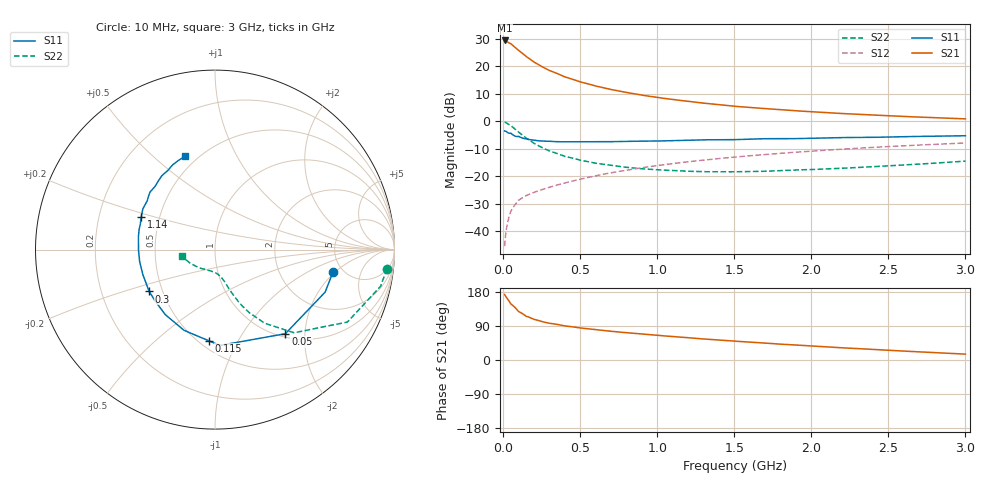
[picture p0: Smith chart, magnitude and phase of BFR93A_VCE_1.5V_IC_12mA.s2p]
! Infineon Technologies  Discrete & RF Semiconductors
! BFR93A
! VCE =  1.5 V,  IC =  12 mA
! Common Emitter S-Parameters:  Nov 2015
# GHz  S  MA  R  50
!  f  S11  S21  S12  S22
! GHz  MAG  ANG  MAG  ANG  MAG  ANG  MAG  ANG
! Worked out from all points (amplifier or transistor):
!   180 points, 10 MHz to 3 GHz, reference 50 ohm
!   highest |S21| = 29.4 dB at 10 MHz (marker M1)
!   |S21| within 3 dB of that: start of sweep to 87.87 MHz
!   unconditionally stable (mu >= 1): 490.7 MHz to end of sweep
!   at 160 MHz: K = 0.57, MSG = 25.0 dB, |S12| = -26.7 dB
!   at 1.22 GHz: K = 1.10, MAG = 8.9 dB, |S12| = -14.6 dB
!   at 3 GHz: K = 1.02, MAG = 3.5 dB, |S12| = -7.9 dB
!   S11 on the Smith chart (normalised r, x): 10 MHz: 4.15, -1.88; 50 MHz: 1.06, -1.59; 115 MHz: 0.56, -0.77; 300 MHz: 0.42, -0.24; 1.14 GHz: 0.40, +0.18; 3 GHz: 0.43, +0.64
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0.01  0.6692 -10.8  29.46 172.9  0.0054 84.6  0.9636 -6.4
0.02  0.6579 -21.1  28.85 166.1  0.0104 79.8  0.9452 -12.5
0.05  0.6109 -50.1  25.75 148.3  0.0232 68.7  0.8406 -28.7
0.1  0.5346 -87.1  19.65 128.0  0.0368 58.3  0.6399 -46.4
0.115  0.5097 -93.7  18.19 124.9  0.0391 57.0  0.5947 -48.8
0.15  0.4818 -111.0  15.04 115.4  0.0447 54.4  0.4946 -56.0
0.2  0.4558 -127.5  11.99 107.4  0.0513 54.0  0.3998 -61.5
0.24  0.4414 -136.8  10.3 102.8  0.0561 54.7  0.3482 -64.2
0.26  0.4379 -140.9  9.596 100.6  0.0585 55.1  0.3264 -65.4
0.3  0.4346 -147.6  8.415 97.0  0.0633 56.0  0.2904 -67.2
0.4  0.4254 -160.9  6.433 90.0  0.0759 58.3  0.2317 -70.4
0.5  0.4252 -170.9  5.221 84.6  0.0888 59.8  0.1975 -72.3
0.52  0.4248 -172.3  5.053 83.8  0.0915 60.0  0.1927 -72.7
0.6  0.4261 -178.1  4.393 80.0  0.1023 60.8  0.1738 -74.7
0.7  0.4272 176.1  3.79 75.8  0.1162 61.1  0.1583 -77.2
0.9  0.4373 165.8  2.991 68.6  0.1435 60.8  0.1376 -83.6
1.02  0.4399 160.9  2.67 64.5  0.1599 60.2  0.131 -87.6
1.14  0.4484 156.3  2.42 60.7  0.1762 59.2  0.1263 -92.9
1.52  0.4669 143.8  1.861 49.3  0.2265 55.7  0.1215 -110.2
2.02  0.4945 130.1  1.483 36.6  0.2899 50.0  0.1337 -131.6
2.52  0.5211 118.4  1.256 25.3  0.3505 43.4  0.1565 -151.0
3  0.5471 107.5  1.109 15.5  0.4041 36.8  0.1895 -169.4
